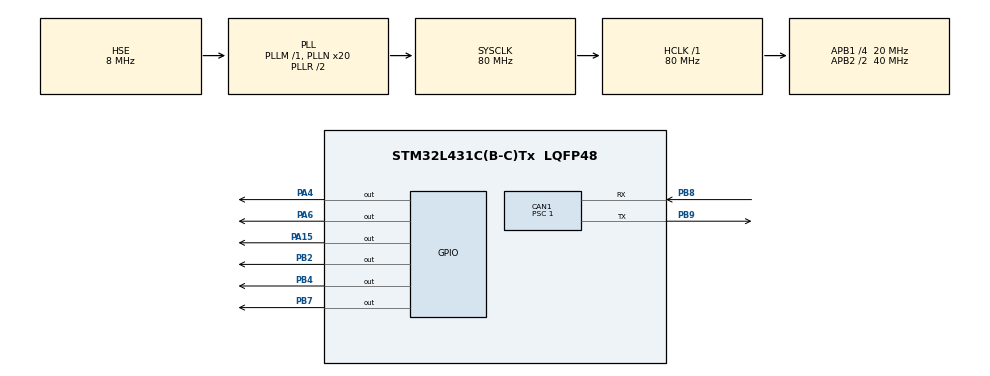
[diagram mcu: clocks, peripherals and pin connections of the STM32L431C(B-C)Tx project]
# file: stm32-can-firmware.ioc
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CAN1.ABOM=ENABLE
CAN1.BS1=CAN_BS1_15TQ
CAN1.BS2=CAN_BS2_4TQ
CAN1.CalculateBaudRate=1000000
CAN1.CalculateTimeBit=1000
CAN1.CalculateTimeQuantum=50.0
CAN1.Prescaler=1
Mcu.Family=STM32L4
Mcu.Name=STM32L431C(B-C)Tx
Mcu.Package=LQFP48
NVIC.PriorityGroup=NVIC_PRIORITYGROUP_4
PA13\ (JTMS-SWDIO).Mode=Serial_Wire
PA13\ (JTMS-SWDIO).Signal=SYS_JTMS-SWDIO
PA14\ (JTCK-SWCLK).Mode=Serial_Wire
PA14\ (JTCK-SWCLK).Signal=SYS_JTCK-SWCLK
PA15\ (JTDI).Signal=GPIO_Output
PA4.Signal=GPIO_Output
PA6.Signal=GPIO_Output
PB2.Signal=GPIO_Output
PB4\ (NJTRST).Signal=GPIO_Output
PB7.Signal=GPIO_Output
PB8.Mode=CAN_Activate
PB8.Signal=CAN1_RX
PB9.Mode=CAN_Activate
PB9.Signal=CAN1_TX
PH0-OSC_IN\ (PH0).Mode=HSE-External-Clock-Source
PH0-OSC_IN\ (PH0).Signal=RCC_OSC_IN
ProjectManager.HeapSize=0x200
ProjectManager.StackSize=0x400
ProjectManager.TargetToolchain=STM32CubeIDE
RCC.ADCFreq_Value=32000000
RCC.AHBFreq_Value=80000000
RCC.APB1CLKDivider=RCC_HCLK_DIV4
RCC.APB1Freq_Value=20000000
RCC.APB1TimFreq_Value=40000000
RCC.APB2CLKDivider=RCC_HCLK_DIV2
RCC.APB2Freq_Value=40000000
RCC.APB2TimFreq_Value=80000000
RCC.CortexFreq_Value=80000000
RCC.HCLKFreq_Value=80000000
RCC.HSE_VALUE=8000000
RCC.HSI48_VALUE=48000000
RCC.HSI_VALUE=16000000
RCC.LSE_VALUE=32768
RCC.MSIClockRange=RCC_MSIRANGE_7
RCC.MSI_VALUE=8000000
RCC.PLLN=20
RCC.PLLSourceVirtual=RCC_PLLSOURCE_HSE
RCC.SYSCLKFreq_VALUE=80000000
RCC.SYSCLKSource=RCC_SYSCLKSOURCE_PLLCLK
RCC.VCOOutputFreq_Value=160000000
board=custom

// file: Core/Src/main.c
/* USER CODE BEGIN Header */
/**
  ******************************************************************************
  * @file           : main.c
  * @brief          : Main program body
  ******************************************************************************
  * @attention
  *
  * Copyright (c) 2022 STMicroelectronics.
  * All rights reserved.
  *
  * This software is licensed under terms that can be found in the LICENSE file
  * in the root directory of this software component.
  * If no LICENSE file comes with this software, it is provided AS-IS.
  *
  ******************************************************************************
  */
/* USER CODE END Header */
#include "main.h"

/* USER CODE BEGIN Includes */
#include "can_ids.h"
#include "pinout.h"
/* USER CODE END Includes */

CAN_HandleTypeDef hcan1;

/* USER CODE BEGIN PV */
int blinker = 0;
int left = 0;
int right = 0;
int emergency = 0;
/* USER CODE END PV */

void SystemClock_Config(void);
static void MX_GPIO_Init(void);
static void MX_CAN1_Init(void);

/* USER CODE BEGIN 0 */
static void handle_can_fifo(uint32_t RxFifo) {

	uint8_t data[8];
	CAN_RxHeaderTypeDef header = {0,};

	if (!HAL_CAN_GetRxFifoFillLevel(&hcan1, RxFifo)) return;

	HAL_StatusTypeDef ret = HAL_CAN_GetRxMessage(
		  &hcan1,
		  RxFifo,
		  &header,
		  data
	);
	if (ret != HAL_OK) {
		Error_Handler();
		return;
	}
	switch(header.StdId) {
	case CAN_ID_BACK_UP_LIGHTS:
		setReverseLight(data[0] ? GPIO_PIN_SET : GPIO_PIN_RESET);
		break;
	case CAN_ID_BLINKER:
		blinker = data[0] ? 1 : 0;
		break;
	case CAN_ID_EMERGENCY_SWITCH:
		emergency = data[0] ? 1 : 0;
		break;
	case CAN_ID_LEFT_TURN_SIGNALS:
		left = data[0] ? 1 : 0;
		break;
	case CAN_ID_BRAKE_LIGHTS:
		setBrakeLight(data[0] ? GPIO_PIN_SET : GPIO_PIN_RESET);
		break;
	case CAN_ID_REVERSE_SWITCH:
		setReverseLight(data[0] ? GPIO_PIN_SET : GPIO_PIN_RESET);
		break;
	case CAN_ID_TAIL_LIGHTS:
		setTailLight(data[0] ? GPIO_PIN_SET : GPIO_PIN_RESET);
	}
	setTurnSignalLight((blinker & left) ? GPIO_PIN_SET : GPIO_PIN_RESET);
}

static void handle_blink() {
	uint32_t millis = HAL_GetTick();
	static uint32_t prev = 0;
	if (millis - prev > 1000) {
		prev = millis;
		static int state = 0;
		state = !state;
		HAL_GPIO_WritePin(GPIOA, GPIO_PIN_4, state ? GPIO_PIN_SET : GPIO_PIN_RESET); // tail light

		// For testing, send a packet at every blink
		{
		  const CAN_TxHeaderTypeDef header = {
				  .StdId = 123,
				  .IDE = CAN_ID_STD,
				  .RTR = CAN_RTR_DATA,
				  .DLC = 1, // 1 byte to send
				  .TransmitGlobalTime = DISABLE
		  };
		  static uint8_t data[] = {0x55};
		  uint32_t pTxMailbox = 0;
		  HAL_StatusTypeDef ret = HAL_CAN_AddTxMessage(&hcan1, &header, data, &pTxMailbox);
		  static uint32_t ok_count = 0;
		  static uint32_t error_count = 0;
		  static uint32_t busy_count = 0;
		  static uint32_t timeout_count = 0;
		  if (ret == HAL_OK) {
			  ok_count++;
		  } else if (ret == HAL_ERROR) {
			  error_count++;
		  } else if (ret == HAL_BUSY) {
			  busy_count++;
		  } else if (ret==HAL_TIMEOUT) {
			  timeout_count++;
		  }
		}
	}
}

/* USER CODE END 0 */

int main(void)
{

  /* MCU Configuration--------------------------------------------------------*/

  /* Reset of all peripherals, Initializes the Flash interface and the Systick. */
  HAL_Init();

  /* Configure the system clock */
  SystemClock_Config();

  /* Initialize all configured peripherals */
  MX_GPIO_Init();
  MX_CAN1_Init();

  /* Infinite loop */
  /* USER CODE BEGIN WHILE */
  if (HAL_CAN_Start(&hcan1) != HAL_OK)
  {
    Error_Handler();
  }
  while (1)
  {
	  HAL_CAN_IRQHandler(&hcan1);
	  //handle_blink();

	  handle_can_fifo(CAN_RX_FIFO0);
	  handle_can_fifo(CAN_RX_FIFO1);
    /* USER CODE END WHILE */

  }
}

void SystemClock_Config(void)
{
  RCC_OscInitTypeDef RCC_OscInitStruct = {0};
  RCC_ClkInitTypeDef RCC_ClkInitStruct = {0};

  /** Configure the main internal regulator output voltage
  */
  if (HAL_PWREx_ControlVoltageScaling(PWR_REGULATOR_VOLTAGE_SCALE1) != HAL_OK)
  {
    Error_Handler();
  }

  /** Initializes the RCC Oscillators according to the specified parameters
  * in the RCC_OscInitTypeDef structure.
  */
  RCC_OscInitStruct.OscillatorType = RCC_OSCILLATORTYPE_HSE;
  RCC_OscInitStruct.HSEState = RCC_HSE_BYPASS;
  RCC_OscInitStruct.PLL.PLLState = RCC_PLL_ON;
  RCC_OscInitStruct.PLL.PLLSource = RCC_PLLSOURCE_HSE;
  RCC_OscInitStruct.PLL.PLLM = 1;
  RCC_OscInitStruct.PLL.PLLN = 20;
  RCC_OscInitStruct.PLL.PLLP = RCC_PLLP_DIV7;
  RCC_OscInitStruct.PLL.PLLQ = RCC_PLLQ_DIV2;
  RCC_OscInitStruct.PLL.PLLR = RCC_PLLR_DIV2;
  if (HAL_RCC_OscConfig(&RCC_OscInitStruct) != HAL_OK)
  {
    Error_Handler();
  }

  /** Initializes the CPU, AHB and APB buses clocks
  */
  RCC_ClkInitStruct.ClockType = RCC_CLOCKTYPE_HCLK|RCC_CLOCKTYPE_SYSCLK
                              |RCC_CLOCKTYPE_PCLK1|RCC_CLOCKTYPE_PCLK2;
  RCC_ClkInitStruct.SYSCLKSource = RCC_SYSCLKSOURCE_PLLCLK;
  RCC_ClkInitStruct.AHBCLKDivider = RCC_SYSCLK_DIV1;
  RCC_ClkInitStruct.APB1CLKDivider = RCC_HCLK_DIV4;
  RCC_ClkInitStruct.APB2CLKDivider = RCC_HCLK_DIV2;

  if (HAL_RCC_ClockConfig(&RCC_ClkInitStruct, FLASH_LATENCY_4) != HAL_OK)
  {
    Error_Handler();
  }
}

static void MX_CAN1_Init(void)
{

  hcan1.Instance = CAN1;
  hcan1.Init.Prescaler = 1;
  hcan1.Init.Mode = CAN_MODE_NORMAL;
  hcan1.Init.SyncJumpWidth = CAN_SJW_1TQ;
  hcan1.Init.TimeSeg1 = CAN_BS1_15TQ;
  hcan1.Init.TimeSeg2 = CAN_BS2_4TQ;
  hcan1.Init.TimeTriggeredMode = DISABLE;
  hcan1.Init.AutoBusOff = DISABLE;
  hcan1.Init.AutoWakeUp = DISABLE;
  hcan1.Init.AutoRetransmission = DISABLE;
  hcan1.Init.ReceiveFifoLocked = DISABLE;
  hcan1.Init.TransmitFifoPriority = DISABLE;
  if (HAL_CAN_Init(&hcan1) != HAL_OK)
  {
    Error_Handler();
  }
  /* USER CODE BEGIN CAN1_Init 2 */

  CAN_FilterTypeDef filter = {0,};
	/* Specifies the filter identification number (MSBs for a 32-bit
	configuration, first one for a 16-bit configuration).
	This parameter must be a number between
	Min_Data = 0x0000 and Max_Data = 0xFFFF. */
	filter.FilterIdHigh =  0; // MY_STID << 5;

	/* Specifies the filter identification number (LSBs for a 32-bit
	configuration, second one for a 16-bit configuration).
	This parameter must be a number between
	Min_Data = 0x0000 and Max_Data = 0xFFFF. */
	filter.FilterIdLow = CAN_RTR_DATA | CAN_ID_STD;

	/* Specifies the FIFO (0 or 1U) which will be assigned to the filter.
	This parameter can be a value of @ref CAN_filter_FIFO */
	filter.FilterFIFOAssignment = CAN_FILTER_FIFO0;

	/* Specifies the filter bank which will be initialized.
	For single CAN instance(14 dedicated filter banks),
	this parameter must be a number between Min_Data = 0 and Max_Data = 13.
	For dual CAN instances(28 filter banks shared),
	this parameter must be a number between Min_Data = 0 and Max_Data = 27. */
	filter.FilterBank = 0;

	/* Specifies the filter mode to be initialized.
	This parameter can be a value of @ref CAN_filter_mode */
	filter.FilterMode = CAN_FILTERMODE_IDMASK;

	/*!< Specifies the filter scale.
	This parameter can be a value of @ref CAN_filter_scale */
	filter.FilterScale = CAN_FILTERSCALE_32BIT;

	/* Enable or disable the filter.
	This parameter can be a value of @ref CAN_filter_activation */
	filter.FilterActivation = CAN_FILTER_ENABLE;

	/* Select the start filter bank for the slave CAN instance.
	For single CAN instances, this parameter is meaningless.
	For dual CAN instances, all filter banks with lower index are assigned to master
	CAN instance, whereas all filter banks with greater index are assigned to slave
	CAN instance.
	This parameter must be a number between Min_Data = 0 and Max_Data = 27. */
	filter.SlaveStartFilterBank = 14;

  if (HAL_CAN_ConfigFilter(&hcan1, &filter) != HAL_OK) {
	  Error_Handler();
  }
//  if (HAL_CAN_ActivateNotification(
//		  &hcan1,
//		  /* Transmit Interrupt */
//		  CAN_IT_TX_MAILBOX_EMPTY |
//		  /* Operating Mode Interrupts */
//		  CAN_IT_WAKEUP |
//		  CAN_IT_SLEEP_ACK |
//		  /* Error Interrupts */
//		  CAN_IT_ERROR_WARNING |
//		  CAN_IT_ERROR_PASSIVE |
//		  CAN_IT_BUSOFF |
//		  CAN_IT_LAST_ERROR_CODE |
//		  CAN_IT_ERROR
//  ) != HAL_OK) {
//	  Error_Handler();
//  }
  /* USER CODE END CAN1_Init 2 */

}

static void MX_GPIO_Init(void)
{
  GPIO_InitTypeDef GPIO_InitStruct = {0};

  /* GPIO Ports Clock Enable */
  __HAL_RCC_GPIOH_CLK_ENABLE();
  __HAL_RCC_GPIOA_CLK_ENABLE();
  __HAL_RCC_GPIOB_CLK_ENABLE();

  /*Configure GPIO pin Output Level */
  HAL_GPIO_WritePin(GPIOA, GPIO_PIN_4|GPIO_PIN_6|GPIO_PIN_15, GPIO_PIN_RESET);

  /*Configure GPIO pin Output Level */
  HAL_GPIO_WritePin(GPIOB, GPIO_PIN_2|GPIO_PIN_4|GPIO_PIN_7, GPIO_PIN_RESET);

  /*Configure GPIO pins : PA4 PA6 PA15 */
  GPIO_InitStruct.Pin = GPIO_PIN_4|GPIO_PIN_6|GPIO_PIN_15;
  GPIO_InitStruct.Mode = GPIO_MODE_OUTPUT_PP;
  GPIO_InitStruct.Pull = GPIO_NOPULL;
  GPIO_InitStruct.Speed = GPIO_SPEED_FREQ_LOW;
  HAL_GPIO_Init(GPIOA, &GPIO_InitStruct);

  /*Configure GPIO pins : PB2 PB4 PB7 */
  GPIO_InitStruct.Pin = GPIO_PIN_2|GPIO_PIN_4|GPIO_PIN_7;
  GPIO_InitStruct.Mode = GPIO_MODE_OUTPUT_PP;
  GPIO_InitStruct.Pull = GPIO_NOPULL;
  GPIO_InitStruct.Speed = GPIO_SPEED_FREQ_LOW;
  HAL_GPIO_Init(GPIOB, &GPIO_InitStruct);

}

void Error_Handler(void)
{
  __disable_irq();
  while (1)
  {
  }
}
